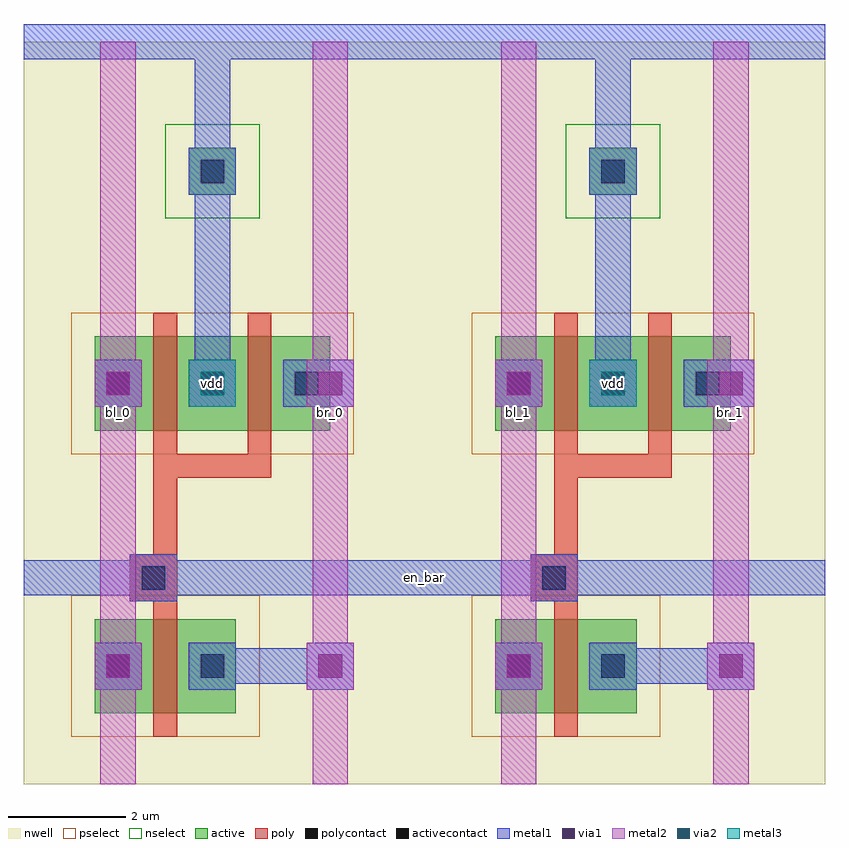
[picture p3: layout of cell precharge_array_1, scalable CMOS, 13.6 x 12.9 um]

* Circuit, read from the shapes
.subckt precharge_array_1 bl_0 bl_1 br_0 br_1 en_bar vdd
M1 br_0 en_bar bl_0 vdd pfet w=1.6u l=0.4u
M2 vdd en_bar bl_0 vdd pfet w=1.6u l=0.4u
M3 br_0 en_bar vdd vdd pfet w=1.6u l=0.4u
M4 br_1 en_bar bl_1 vdd pfet w=1.6u l=0.4u
M5 vdd en_bar bl_1 vdd pfet w=1.6u l=0.4u
M6 br_1 en_bar vdd vdd pfet w=1.6u l=0.4u
.ends

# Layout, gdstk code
from math import pi, radians
import gdstk
lib = gdstk.Library(unit=1e-6, precision=1e-09)
def R(c, l, rs):  # rectangles x0, y0, x1, y1
    for r in rs: c.add(gdstk.rectangle(r[:2], r[2:], *l))
nwell = (42, 0)
active = (43, 0)
pselect = (44, 0)
nselect = (45, 0)
poly = (46, 0)
polycontact = (47, 0)
activecontact = (48, 0)
metal1 = (49, 0)
via1 = (50, 0)
metal2 = (51, 0)
via2 = (61, 0)
metal3 = (62, 0)

active_contact_metal1_1x = lib.new_cell('active_contact_metal1_1x1_pn')
R(active_contact_metal1_1x, nwell, [(-1.2,-1.2,2,2)])
R(active_contact_metal1_1x, active, [(0,0,0.8,0.8)])
R(active_contact_metal1_1x, pselect, [(-0.4,-0.4,1.2,1.2)])
R(active_contact_metal1_1x, activecontact, [(0.2,0.2,0.6,0.6)])
R(active_contact_metal1_1x, metal1, [(0,0,0.8,0.8)])

pmos_m1_w1_6 = lib.new_cell('pmos_m1_w1_6')
R(pmos_m1_w1_6, nwell, [(-1.2,-1.2,3.6,2.8)])
R(pmos_m1_w1_6, active, [(0,0,2.4,1.6)])
R(pmos_m1_w1_6, pselect, [(-0.4,-0.4,2.8,2)])
R(pmos_m1_w1_6, poly, [(1,-0.4,1.4,2), (1,-0.4,1.4,2)])
R(pmos_m1_w1_6, metal1, [(0,0.4,0.8,1.2), (1.6,0.4,2.4,1.2)])
pmos_m1_w1_6.add(gdstk.Reference(active_contact_metal1_1x, (0,0.4)))
pmos_m1_w1_6.add(gdstk.Reference(active_contact_metal1_1x, (1.6,0.4)))
pmos_m1_w1_6.add(gdstk.Label('G', (1.2,0.8), layer=46, texttype=0))
pmos_m1_w1_6.add(gdstk.Label('S', (0.4,0.8), layer=49, texttype=0))
pmos_m1_w1_6.add(gdstk.Label('D', (2,0.8), layer=49, texttype=0))

poly_contact_metal1_1x1 = lib.new_cell('poly_contact_metal1_1x1')
R(poly_contact_metal1_1x1, poly, [(0,0,0.8,0.8)])
R(poly_contact_metal1_1x1, polycontact, [(0.2,0.2,0.6,0.6)])
R(poly_contact_metal1_1x1, metal1, [(0,0,0.8,0.8)])

c_active_contact_metal1_1x = lib.new_cell('active_contact_metal1_1x1_nn')
R(c_active_contact_metal1_1x, nwell, [(-1.2,-1.2,2,2)])
R(c_active_contact_metal1_1x, active, [(0,0,0.8,0.8)])
R(c_active_contact_metal1_1x, nselect, [(-0.4,-0.4,1.2,1.2)])
R(c_active_contact_metal1_1x, activecontact, [(0.2,0.2,0.6,0.6)])
R(c_active_contact_metal1_1x, metal1, [(0,0,0.8,0.8)])

metal1_via1_metal2_1x1 = lib.new_cell('metal1_via1_metal2_1x1')
R(metal1_via1_metal2_1x1, metal1, [(0,0,0.8,0.8)])
R(metal1_via1_metal2_1x1, via1, [(0.2,0.2,0.6,0.6)])
R(metal1_via1_metal2_1x1, metal2, [(0,0,0.8,0.8)])

metal2_via2_metal3_1x1 = lib.new_cell('metal2_via2_metal3_1x1')
R(metal2_via2_metal3_1x1, metal2, [(0,0,0.8,0.8)])
R(metal2_via2_metal3_1x1, via2, [(0.2,0.2,0.6,0.6)])
R(metal2_via2_metal3_1x1, metal3, [(0,0,0.8,0.8)])

precharge_1 = lib.new_cell('precharge_1')
R(precharge_1, nwell, [(0,0,6.8,12.6)])
R(precharge_1, poly, [(2.2,0.8,2.6,5.6), (2.2,5.2,4.2,5.6)])
R(precharge_1, metal1, [(3.2,1.7,5.2,2.3), (0,3.2,6.8,3.8), (4.8,6.5,5.2,7.1), (2.9,7.2,3.5,12.6), (0,12.3,6.8,12.9)])
R(precharge_1, metal2, [(1.3,0,1.9,12.6), (4.9,0,5.5,12.6)])
R(precharge_1, metal3, [(2.8,6.4,3.6,7.2)])
precharge_1.add(gdstk.Reference(pmos_m1_w1_6, (1.2,1.2)))
precharge_1.add(gdstk.Reference(pmos_m1_w1_6, (1.2,6)))
precharge_1.add(gdstk.Reference(pmos_m1_w1_6, (2.8,6)))
precharge_1.add(gdstk.Reference(poly_contact_metal1_1x1, (2.6,3.1), rotation=pi/2))
precharge_1.add(gdstk.Reference(c_active_contact_metal1_1x, (2.8,10)))
precharge_1.add(gdstk.Reference(metal1_via1_metal2_1x1, (2.8,6.4)))
precharge_1.add(gdstk.Reference(metal2_via2_metal3_1x1, (2.8,6.4)))
precharge_1.add(gdstk.Reference(metal1_via1_metal2_1x1, (1.2,6.4)))
precharge_1.add(gdstk.Reference(metal1_via1_metal2_1x1, (1.2,1.6)))
precharge_1.add(gdstk.Reference(metal1_via1_metal2_1x1, (4.8,6.4)))
precharge_1.add(gdstk.Reference(metal1_via1_metal2_1x1, (4.8,1.6)))
precharge_1.add(gdstk.Label('en_bar', (3.4,3.5), layer=49, texttype=0))
precharge_1.add(gdstk.Label('vdd', (3.2,6.8), layer=62, texttype=0))
precharge_1.add(gdstk.Label('bl', (1.6,6.3), layer=51, texttype=0))
precharge_1.add(gdstk.Label('br', (5.2,6.3), layer=51, texttype=0))

precharge_array_1 = lib.new_cell('precharge_array_1')
R(precharge_array_1, metal1, [(0,3.2,13.6,3.8)])
R(precharge_array_1, metal2, [(1.3,0,1.9,12.6), (4.9,0,5.5,12.6), (8.1,0,8.7,12.6), (11.7,0,12.3,12.6)])
R(precharge_array_1, metal3, [(2.8,6.4,3.6,7.2), (9.6,6.4,10.4,7.2)])
precharge_array_1.add(gdstk.Reference(precharge_1, (0,0)))
precharge_array_1.add(gdstk.Reference(precharge_1, (6.8,0)))
precharge_array_1.add(gdstk.Label('en_bar', (6.8,3.5), layer=49, texttype=0))
precharge_array_1.add(gdstk.Label('vdd', (3.2,6.8), layer=62, texttype=0))
precharge_array_1.add(gdstk.Label('vdd', (10,6.8), layer=62, texttype=0))
precharge_array_1.add(gdstk.Label('bl_0', (1.6,6.3), layer=51, texttype=0))
precharge_array_1.add(gdstk.Label('br_0', (5.2,6.3), layer=51, texttype=0))
precharge_array_1.add(gdstk.Label('bl_1', (8.4,6.3), layer=51, texttype=0))
precharge_array_1.add(gdstk.Label('br_1', (12,6.3), layer=51, texttype=0))

lib.write_gds('precharge_array_1.gds')
